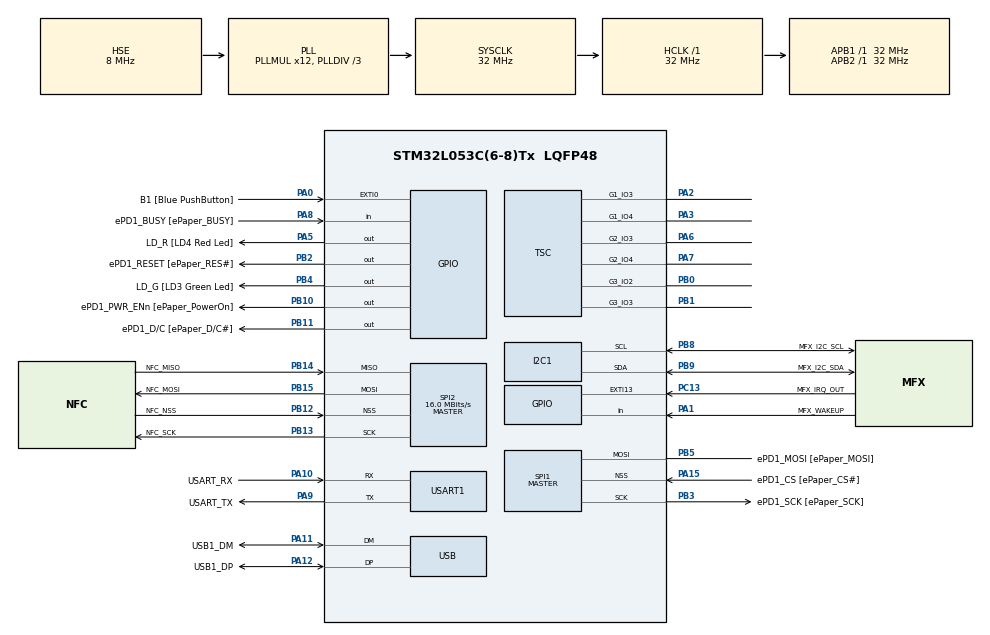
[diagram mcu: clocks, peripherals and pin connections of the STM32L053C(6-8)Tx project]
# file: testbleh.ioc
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FREERTOS.Tasks01=defaultTask,0,128,StartDefaultTask,Default,NULL
Mcu.Family=STM32L0
Mcu.Name=STM32L053C(6-8)Tx
Mcu.Package=LQFP48
PA0.GPIO_Label=B1 [Blue PushButton]
PA0.GPIO_ModeDefaultEXTI=GPIO_MODE_EVT_RISING
PA0.GPIO_PuPd=GPIO_NOPULL
PA0.Signal=GPXTI0
PA1.GPIO_Label=MFX_WAKEUP
PA1.Signal=GPIO_Input
PA10.GPIO_Label=USART_RX
PA10.Mode=Asynchronous
PA10.Signal=USART1_RX
PA11.GPIO_Label=USB1_DM
PA11.Mode=Device
PA11.Signal=USB_DM
PA12.GPIO_Label=USB1_DP
PA12.Mode=Device
PA12.Signal=USB_DP
PA13.GPIO_Label=SWDIO
PA13.Mode=Serial_Wire
PA13.Signal=SYS_SWDIO
PA14.GPIO_Label=SWCLK
PA14.Mode=Serial_Wire
PA14.Signal=SYS_SWCLK
PA15.GPIO_Label=ePD1_CS [ePaper_CS\#]
PA15.GPIO_Mode=GPIO_MODE_AF_PP
PA15.GPIO_PuPd=GPIO_NOPULL
PA15.GPIO_Speed=GPIO_SPEED_FREQ_LOW
PA15.Mode=NSS_Signal_Hard_Input
PA15.Signal=SPI1_NSS
PA2.Mode=G1_IO3-Channel
PA2.Signal=TSC_G1_IO3
PA3.Mode=G1_IO4-Sampling
PA3.Signal=TSC_G1_IO4
PA5.GPIO_Label=LD_R [LD4 Red Led]
PA5.GPIO_ModeDefaultOutputPP=GPIO_MODE_OUTPUT_PP
PA5.GPIO_PuPd=GPIO_NOPULL
PA5.GPIO_Speed=GPIO_SPEED_FREQ_LOW
PA5.Signal=GPIO_Output
PA6.Mode=G2_IO3-Channel
PA6.Signal=TSC_G2_IO3
PA7.Mode=G2_IO4-Sampling
PA7.Signal=TSC_G2_IO4
PA8.GPIO_Label=ePD1_BUSY [ePaper_BUSY]
PA8.GPIO_Mode=GPIO_MODE_INPUT
PA8.GPIO_PuPd=GPIO_NOPULL
PA8.Signal=GPIO_Input
PA9.GPIO_Label=USART_TX
PA9.Mode=Asynchronous
PA9.Signal=USART1_TX
PB0.Mode=G3_IO2-Channel
PB0.Signal=TSC_G3_IO2
PB1.Mode=G3_IO3-Sampling
PB1.Signal=TSC_G3_IO3
PB10.GPIO_Label=ePD1_PWR_ENn [ePaper_PowerOn]
PB10.GPIO_ModeDefaultOutputPP=GPIO_MODE_OUTPUT_PP
PB10.GPIO_PuPd=GPIO_NOPULL
PB10.GPIO_Speed=GPIO_SPEED_FREQ_LOW
PB10.Signal=GPIO_Output
PB11.GPIO_Label=ePD1_D/C [ePaper_D/C\#]
PB11.GPIO_ModeDefaultOutputPP=GPIO_MODE_OUTPUT_PP
PB11.GPIO_PuPd=GPIO_NOPULL
PB11.GPIO_Speed=GPIO_SPEED_FREQ_LOW
PB11.Signal=GPIO_Output
PB12.GPIO_Label=NFC_NSS
PB12.Mode=NSS_Signal_Hard_Input
PB12.Signal=SPI2_NSS
PB13.GPIO_Label=NFC_SCK
PB13.Mode=Full_Duplex_Master
PB13.Signal=SPI2_SCK
PB14.GPIO_Label=NFC_MISO
PB14.Mode=Full_Duplex_Master
PB14.Signal=SPI2_MISO
PB15.GPIO_Label=NFC_MOSI
PB15.Mode=Full_Duplex_Master
PB15.Signal=SPI2_MOSI
PB2.GPIO_Label=ePD1_RESET [ePaper_RES\#]
PB2.GPIO_ModeDefaultOutputPP=GPIO_MODE_OUTPUT_PP
PB2.GPIO_PuPd=GPIO_NOPULL
PB2.GPIO_Speed=GPIO_SPEED_FREQ_LOW
PB2.Signal=GPIO_Output
PB3.GPIO_Label=ePD1_SCK [ePaper_SCK]
PB3.GPIO_Mode=GPIO_MODE_AF_PP
PB3.GPIO_PuPd=GPIO_NOPULL
PB3.GPIO_Speed=GPIO_SPEED_FREQ_LOW
PB3.Mode=Simplex_Bidirectional_Master
PB3.Signal=SPI1_SCK
PB4.GPIO_Label=LD_G [LD3 Green Led]
PB4.GPIO_ModeDefaultOutputPP=GPIO_MODE_OUTPUT_PP
PB4.GPIO_PuPd=GPIO_NOPULL
PB4.GPIO_Speed=GPIO_SPEED_FREQ_LOW
PB4.Signal=GPIO_Output
PB5.GPIO_Label=ePD1_MOSI [ePaper_MOSI]
PB5.GPIO_Mode=GPIO_MODE_AF_PP
PB5.GPIO_PuPd=GPIO_NOPULL
PB5.GPIO_Speed=GPIO_SPEED_FREQ_LOW
PB5.Mode=Simplex_Bidirectional_Master
PB5.Signal=SPI1_MOSI
PB8.GPIO_Label=MFX_I2C_SCL
PB8.Mode=I2C
PB8.Signal=I2C1_SCL
PB9.GPIO_Label=MFX_I2C_SDA
PB9.Mode=I2C
PB9.Signal=I2C1_SDA
PC13.GPIO_Label=MFX_IRQ_OUT
PC13.Signal=GPXTI13
PC14-OSC32_IN.GPIO_Label=PC14-OSC32_IN
PC14-OSC32_IN.Signal=RCC_OSC32_IN
PC15-OSC32_OUT.GPIO_Label=PC15-OSC32_OUT
PC15-OSC32_OUT.Signal=RCC_OSC32_OUT
PH0-OSC_IN.GPIO_Label=MCO
PH0-OSC_IN.Mode=HSE-External-Clock-Source
PH0-OSC_IN.Signal=RCC_OSC_IN
ProjectManager.HeapSize=0x200
ProjectManager.StackSize=0x400
ProjectManager.TargetToolchain=TrueSTUDIO
RCC.AHBFreq_Value=32000000
RCC.APB1Freq_Value=32000000
RCC.APB1TimFreq_Value=32000000
RCC.APB2Freq_Value=32000000
RCC.APB2TimFreq_Value=32000000
RCC.HCLKFreq_Value=32000000
RCC.HSE_VALUE=8000000
RCC.HSI16_VALUE=16000000
RCC.HSI48MClockSelection=RCC_USBCLKSOURCE_HSI48
RCC.HSI48_VALUE=48000000
RCC.HSI_VALUE=16000000
RCC.LSE_VALUE=32768
RCC.MSI_VALUE=2097000
RCC.PLLDIV=RCC_PLLDIV_3
RCC.PLLMUL=RCC_PLLMUL_12
RCC.PLLSourceVirtual=RCC_PLLSOURCE_HSE
RCC.RTCClockSelectionVirtual=RCC_RTCCLKSOURCE_LSE
RCC.SYSCLKFreq_VALUE=32000000
RCC.SYSCLKSource=RCC_SYSCLKSOURCE_PLLCLK
RCC.VCOOutputFreq_Value=96000000
SPI1.CalculateBaudRate-Simplex_Bidirectional_Master=16.0 MBits/s
SPI1.Direction=SPI_DIRECTION_1LINE
SPI1.Direction-Simplex_Bidirectional_Master=SPI_DIRECTION_1LINE
SPI1.Mode=SPI_MODE_MASTER
SPI1.Mode-Simplex_Bidirectional_Master=SPI_MODE_MASTER
SPI1.NSS-Simplex_Bidirectional_Master=SPI_NSS_HARD_OUTPUT
SPI1.TIMode-Simplex_Bidirectional_Master=SPI_TIMODE_DISABLE
SPI1.VirtualNSS=VM_NSSHARD
SPI1.VirtualType=VM_MASTER
SPI2.CalculateBaudRate=16.0 MBits/s
SPI2.Direction=SPI_DIRECTION_2LINES
SPI2.Mode=SPI_MODE_MASTER
SPI2.VirtualNSS=VM_NSSHARD
SPI2.VirtualType=VM_MASTER
TSC.ChannelIOs-G1_IO3-Channel=TSC_GROUP1_IO3
TSC.ChannelIOs-G2_IO3-Channel=TSC_GROUP2_IO3
TSC.ChannelIOs-G3_IO2-Channel=TSC_GROUP3_IO2
TSC.SamplingIOs-G1_IO4-Sampling=TSC_GROUP1_IO4
TSC.SamplingIOs-G2_IO4-Sampling=TSC_GROUP2_IO4
TSC.SamplingIOs-G3_IO3-Sampling=TSC_GROUP3_IO3
USART1.VirtualMode-Asynchronous=VM_ASYNC
VP_CRC_VS_CRC.Mode=CRC_Activate
VP_FREERTOS_VS_ENABLE.Mode=Enabled
VP_RNG_VS_RNG.Mode=RNG_Activate
board=32L0538DISCOVERY

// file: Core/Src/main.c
/* USER CODE BEGIN Header */
/**
 ******************************************************************************
 * @file           : main.c
 * @brief          : Main program body
 ******************************************************************************
 * This notice applies to any and all portions of this file
 * that are not between comment pairs USER CODE BEGIN and
 * USER CODE END. Other portions of this file, whether
 * inserted by the user or by software development tools
 * are owned by their respective copyright owners.
 *
 * Copyright (c) 2018 STMicroelectronics International N.V.
 * All rights reserved.
 *
 * Redistribution and use in source and binary forms, with or without
 * modification, are permitted, provided that the following conditions are met:
 *
 * 1. Redistribution of source code must retain the above copyright notice,
 *    this list of conditions and the following disclaimer.
 * 2. Redistributions in binary form must reproduce the above copyright notice,
 *    this list of conditions and the following disclaimer in the documentation
 *    and/or other materials provided with the distribution.
 * 3. Neither the name of STMicroelectronics nor the names of other
 *    contributors to this software may be used to endorse or promote products
 *    derived from this software without specific written permission.
 * 4. This software, including modifications and/or derivative works of this
 *    software, must execute solely and exclusively on microcontroller or
 *    microprocessor devices manufactured by or for STMicroelectronics.
 * 5. Redistribution and use of this software other than as permitted under
 *    this license is void and will automatically terminate your rights under
 *    this license.
 *
 * THIS SOFTWARE IS PROVIDED BY STMICROELECTRONICS AND CONTRIBUTORS "AS IS"
 * AND ANY EXPRESS, IMPLIED OR STATUTORY WARRANTIES, INCLUDING, BUT NOT
 * LIMITED TO, THE IMPLIED WARRANTIES OF MERCHANTABILITY, FITNESS FOR A
 * PARTICULAR PURPOSE AND NON-INFRINGEMENT OF THIRD PARTY INTELLECTUAL PROPERTY
 * RIGHTS ARE DISCLAIMED TO THE FULLEST EXTENT PERMITTED BY LAW. IN NO EVENT
 * SHALL STMICROELECTRONICS OR CONTRIBUTORS BE LIABLE FOR ANY DIRECT, INDIRECT,
 * INCIDENTAL, SPECIAL, EXEMPLARY, OR CONSEQUENTIAL DAMAGES (INCLUDING, BUT NOT
 * LIMITED TO, PROCUREMENT OF SUBSTITUTE GOODS OR SERVICES; LOSS OF USE, DATA,
 * OR PROFITS; OR BUSINESS INTERRUPTION) HOWEVER CAUSED AND ON ANY THEORY OF
 * LIABILITY, WHETHER IN CONTRACT, STRICT LIABILITY, OR TORT (INCLUDING
 * NEGLIGENCE OR OTHERWISE) ARISING IN ANY WAY OUT OF THE USE OF THIS SOFTWARE,
 * EVEN IF ADVISED OF THE POSSIBILITY OF SUCH DAMAGE.
 *
 ******************************************************************************
 */
/* USER CODE END Header */

#include "main.h"
#include "string.h"
#include "cmsis_os.h"
#include "FreeRTOS.h"

/* USER CODE BEGIN Includes */

//#include "stm32l0538_discovery.h"
//#include "stm32l0538_discovery_epd.h"
#include "tinycrypt/ecc.h"
#include <tinycrypt/ecc_dsa.h>
#include <tinycrypt/ecc_dh.h>
#include <tinycrypt/constants.h>
#include <tinycrypt/sha256.h>
#include "sha3.h"
#include "prvkey.h"
#include "ethutil.h"
#include "hexutil.h"
/* USER CODE END Includes */

I2C_HandleTypeDef hi2c1;

RNG_HandleTypeDef hrng;

SPI_HandleTypeDef hspi1;
SPI_HandleTypeDef hspi2;

TSC_HandleTypeDef htsc;

UART_HandleTypeDef huart1;

PCD_HandleTypeDef hpcd_USB_FS;

osThreadId defaultTaskHandle;

void SystemClock_Config(void);
static void MX_GPIO_Init(void);
static void MX_I2C1_Init(void);
static void MX_SPI1_Init(void);
static void MX_SPI2_Init(void);
static void MX_TSC_Init(void);
static void MX_USART1_UART_Init(void);
static void MX_USB_PCD_Init(void);
static void MX_RNG_Init(void);
static void MX_CRC_Init(void);
void StartDefaultTask(void * argument);

int default_CSPRNG(uint8_t *dest, unsigned int size);

/* USER CODE BEGIN 0 */

TaskHandle_t g_taskHandle;
sha3_context g_sha3c = {0};
uECC_Curve g_curve;
/* USER CODE END 0 */

int main(void)
{

	/* MCU Configuration--------------------------------------------------------*/

	/* Reset of all peripherals, Initializes the Flash interface and the Systick. */
	HAL_Init();

	/* Configure the system clock */
	SystemClock_Config();

	/* Initialize all configured peripherals */
	MX_GPIO_Init();
	MX_I2C1_Init();
	MX_SPI1_Init();
	MX_SPI2_Init();
	MX_TSC_Init();
	MX_USART1_UART_Init();
	MX_USB_PCD_Init();
	MX_RNG_Init();
	MX_CRC_Init();
	/* USER CODE BEGIN 2 */
	//	BSP_EPD_Init();
	/* USER CODE END 2 */

	/* Create the thread(s) */
	/* definition and creation of defaultTask */

	BaseType_t result =  xTaskCreate(StartDefaultTask, "start task", 512, NULL, 5, &g_taskHandle);

	if(result != pdPASS)
	{
		Error_Handler();
	}

	/* Start scheduler */
	//  osKernelStart();
	vTaskStartScheduler();

	/* We should never get here as control is now taken by the scheduler */
}

void StartDefaultTask(void * argument)
{

	/* USER CODE BEGIN 5 */
	uECC_set_rng(&default_CSPRNG);
	g_curve = uECC_secp256k1();

	uint8_t pub_bytes[2*NUM_ECC_BYTES];
	uint8_t prv_bytes[NUM_ECC_BYTES];
	uint8_t addr_str[43];
	uint8_t hash[NUM_ECC_BYTES];
	uint8_t sig[2*NUM_ECC_BYTES];

#ifdef PRV_KEY
	hex2bin(PRV_KEY, prv_bytes, 2*NUM_ECC_BYTES, NULL);
#else
	//Create the key-pair
	if(!uECC_make_key(pub_bytes, prv_bytes, g_curve))
	{
		Error_Handler();
	}
#endif

	if(!uECC_compute_public_key(prv_bytes, pub_bytes, g_curve))
	{
		Error_Handler();
	}

	// Create ETH address from key
	ethAddrFromPubkey(pub_bytes, addr_str);

	for(;;)
	{
		//		BSP_EPD_Clear(0xFFFF);
		HAL_GPIO_WritePin(LD_G_GPIO_Port, LD_G_Pin, GPIO_PIN_RESET);
		HAL_GPIO_WritePin(LD_R_GPIO_Port, LD_R_Pin, GPIO_PIN_RESET);

		if(!uECC_sign(prv_bytes, hash, sizeof(hash), sig, g_curve ))
		{
			Error_Handler();
		}
		HAL_GPIO_WritePin(LD_R_GPIO_Port, LD_R_Pin, GPIO_PIN_SET);

		if(!uECC_verify(pub_bytes, hash, sizeof(hash), sig, g_curve))
		{
			Error_Handler();
		}
		HAL_GPIO_WritePin(LD_G_GPIO_Port, LD_G_Pin, GPIO_PIN_SET);

		//		BSP_EPD_DisplayStringAt(0, 0, "Test 1234567890", CENTER_MODE );
		//		BSP_EPD_RefreshDisplay();

		vTaskDelay(pdMS_TO_TICKS(500));
	}
	/* USER CODE END 5 */
}

int default_CSPRNG(uint8_t *dest, unsigned int size)
{
	uint32_t num = 0;
	uint32_t remaining_bytes = size;
	uint32_t idx = 0;

	while(remaining_bytes > 0)
	{
		HAL_RNG_GenerateRandomNumber(&hrng, &num);

		if(remaining_bytes >= 4)
		{
			memcpy(dest+idx, &num, 4);
			remaining_bytes -= 4;
			idx +=4;
		}
		else
		{
			memcpy(dest+idx, &num, remaining_bytes);
			remaining_bytes = 0;
			idx += remaining_bytes;
		}
	}
	return 1;
}

void SystemClock_Config(void)
{
	RCC_OscInitTypeDef RCC_OscInitStruct = {0};
	RCC_ClkInitTypeDef RCC_ClkInitStruct = {0};
	RCC_PeriphCLKInitTypeDef PeriphClkInit = {0};

	/**Configure the main internal regulator output voltage
	 */
	__HAL_PWR_VOLTAGESCALING_CONFIG(PWR_REGULATOR_VOLTAGE_SCALE1);
	/**Initializes the CPU, AHB and APB busses clocks
	 */
	RCC_OscInitStruct.OscillatorType = RCC_OSCILLATORTYPE_HSE|RCC_OSCILLATORTYPE_HSI48;
	RCC_OscInitStruct.HSEState = RCC_HSE_BYPASS;
	RCC_OscInitStruct.HSI48State = RCC_HSI48_ON;
	RCC_OscInitStruct.PLL.PLLState = RCC_PLL_ON;
	RCC_OscInitStruct.PLL.PLLSource = RCC_PLLSOURCE_HSE;
	RCC_OscInitStruct.PLL.PLLMUL = RCC_PLLMUL_12;
	RCC_OscInitStruct.PLL.PLLDIV = RCC_PLLDIV_3;
	if (HAL_RCC_OscConfig(&RCC_OscInitStruct) != HAL_OK)
	{
		Error_Handler();
	}
	/**Initializes the CPU, AHB and APB busses clocks
	 */
	RCC_ClkInitStruct.ClockType = RCC_CLOCKTYPE_HCLK|RCC_CLOCKTYPE_SYSCLK
			|RCC_CLOCKTYPE_PCLK1|RCC_CLOCKTYPE_PCLK2;
	RCC_ClkInitStruct.SYSCLKSource = RCC_SYSCLKSOURCE_PLLCLK;
	RCC_ClkInitStruct.AHBCLKDivider = RCC_SYSCLK_DIV1;
	RCC_ClkInitStruct.APB1CLKDivider = RCC_HCLK_DIV1;
	RCC_ClkInitStruct.APB2CLKDivider = RCC_HCLK_DIV1;

	if (HAL_RCC_ClockConfig(&RCC_ClkInitStruct, FLASH_LATENCY_1) != HAL_OK)
	{
		Error_Handler();
	}
	PeriphClkInit.PeriphClockSelection = RCC_PERIPHCLK_USART1|RCC_PERIPHCLK_I2C1
			|RCC_PERIPHCLK_USB;
	PeriphClkInit.Usart1ClockSelection = RCC_USART1CLKSOURCE_PCLK2;
	PeriphClkInit.I2c1ClockSelection = RCC_I2C1CLKSOURCE_PCLK1;
	PeriphClkInit.UsbClockSelection = RCC_USBCLKSOURCE_HSI48;
	if (HAL_RCCEx_PeriphCLKConfig(&PeriphClkInit) != HAL_OK)
	{
		Error_Handler();
	}
}

static void MX_CRC_Init(void)
{

}

static void MX_I2C1_Init(void)
{

	hi2c1.Instance = I2C1;
	hi2c1.Init.Timing = 0x00000708;
	hi2c1.Init.OwnAddress1 = 0;
	hi2c1.Init.AddressingMode = I2C_ADDRESSINGMODE_7BIT;
	hi2c1.Init.DualAddressMode = I2C_DUALADDRESS_DISABLE;
	hi2c1.Init.OwnAddress2 = 0;
	hi2c1.Init.OwnAddress2Masks = I2C_OA2_NOMASK;
	hi2c1.Init.GeneralCallMode = I2C_GENERALCALL_DISABLE;
	hi2c1.Init.NoStretchMode = I2C_NOSTRETCH_DISABLE;
	if (HAL_I2C_Init(&hi2c1) != HAL_OK)
	{
		Error_Handler();
	}
	/**Configure Analogue filter
	 */
	if (HAL_I2CEx_ConfigAnalogFilter(&hi2c1, I2C_ANALOGFILTER_ENABLE) != HAL_OK)
	{
		Error_Handler();
	}
	/**Configure Digital filter
	 */
	if (HAL_I2CEx_ConfigDigitalFilter(&hi2c1, 0) != HAL_OK)
	{
		Error_Handler();
	}

}

static void MX_RNG_Init(void)
{

	hrng.Instance = RNG;
	if (HAL_RNG_Init(&hrng) != HAL_OK)
	{
		Error_Handler();
	}

}

static void MX_SPI1_Init(void)
{

	/* SPI1 parameter configuration*/
	hspi1.Instance = SPI1;
	hspi1.Init.Mode = SPI_MODE_MASTER;
	hspi1.Init.Direction = SPI_DIRECTION_1LINE;
	hspi1.Init.DataSize = SPI_DATASIZE_8BIT;
	hspi1.Init.CLKPolarity = SPI_POLARITY_LOW;
	hspi1.Init.CLKPhase = SPI_PHASE_1EDGE;
	hspi1.Init.NSS = SPI_NSS_HARD_INPUT;
	hspi1.Init.BaudRatePrescaler = SPI_BAUDRATEPRESCALER_2;
	hspi1.Init.FirstBit = SPI_FIRSTBIT_MSB;
	hspi1.Init.TIMode = SPI_TIMODE_DISABLE;
	hspi1.Init.CRCCalculation = SPI_CRCCALCULATION_DISABLE;
	hspi1.Init.CRCPolynomial = 7;
	if (HAL_SPI_Init(&hspi1) != HAL_OK)
	{
		Error_Handler();
	}

}

static void MX_SPI2_Init(void)
{

	/* SPI2 parameter configuration*/
	hspi2.Instance = SPI2;
	hspi2.Init.Mode = SPI_MODE_MASTER;
	hspi2.Init.Direction = SPI_DIRECTION_2LINES;
	hspi2.Init.DataSize = SPI_DATASIZE_8BIT;
	hspi2.Init.CLKPolarity = SPI_POLARITY_LOW;
	hspi2.Init.CLKPhase = SPI_PHASE_1EDGE;
	hspi2.Init.NSS = SPI_NSS_HARD_INPUT;
	hspi2.Init.BaudRatePrescaler = SPI_BAUDRATEPRESCALER_2;
	hspi2.Init.FirstBit = SPI_FIRSTBIT_MSB;
	hspi2.Init.TIMode = SPI_TIMODE_DISABLE;
	hspi2.Init.CRCCalculation = SPI_CRCCALCULATION_DISABLE;
	hspi2.Init.CRCPolynomial = 7;
	if (HAL_SPI_Init(&hspi2) != HAL_OK)
	{
		Error_Handler();
	}

}

static void MX_TSC_Init(void)
{

	/**Configure the TSC peripheral
	 */
	htsc.Instance = TSC;
	htsc.Init.CTPulseHighLength = TSC_CTPH_2CYCLES;
	htsc.Init.CTPulseLowLength = TSC_CTPL_2CYCLES;
	htsc.Init.SpreadSpectrum = DISABLE;
	htsc.Init.SpreadSpectrumDeviation = 1;
	htsc.Init.SpreadSpectrumPrescaler = TSC_SS_PRESC_DIV1;
	htsc.Init.PulseGeneratorPrescaler = TSC_PG_PRESC_DIV4;
	htsc.Init.MaxCountValue = TSC_MCV_8191;
	htsc.Init.IODefaultMode = TSC_IODEF_OUT_PP_LOW;
	htsc.Init.SynchroPinPolarity = TSC_SYNC_POLARITY_FALLING;
	htsc.Init.AcquisitionMode = TSC_ACQ_MODE_NORMAL;
	htsc.Init.MaxCountInterrupt = DISABLE;
	htsc.Init.ChannelIOs = TSC_GROUP1_IO3|TSC_GROUP2_IO3|TSC_GROUP3_IO2;
	htsc.Init.ShieldIOs = 0;
	htsc.Init.SamplingIOs = TSC_GROUP1_IO4|TSC_GROUP2_IO4|TSC_GROUP3_IO3;
	if (HAL_TSC_Init(&htsc) != HAL_OK)
	{
		Error_Handler();
	}

}

static void MX_USART1_UART_Init(void)
{

	huart1.Instance = USART1;
	huart1.Init.BaudRate = 115200;
	huart1.Init.WordLength = UART_WORDLENGTH_8B;
	huart1.Init.StopBits = UART_STOPBITS_1;
	huart1.Init.Parity = UART_PARITY_NONE;
	huart1.Init.Mode = UART_MODE_TX_RX;
	huart1.Init.HwFlowCtl = UART_HWCONTROL_NONE;
	huart1.Init.OverSampling = UART_OVERSAMPLING_16;
	huart1.Init.OneBitSampling = UART_ONE_BIT_SAMPLE_DISABLE;
	huart1.AdvancedInit.AdvFeatureInit = UART_ADVFEATURE_NO_INIT;
	if (HAL_UART_Init(&huart1) != HAL_OK)
	{
		Error_Handler();
	}

}

static void MX_USB_PCD_Init(void)
{

	hpcd_USB_FS.Instance = USB;
	hpcd_USB_FS.Init.dev_endpoints = 8;
	hpcd_USB_FS.Init.speed = PCD_SPEED_FULL;
	hpcd_USB_FS.Init.ep0_mps = DEP0CTL_MPS_64;
	hpcd_USB_FS.Init.phy_itface = PCD_PHY_EMBEDDED;
	hpcd_USB_FS.Init.low_power_enable = DISABLE;
	hpcd_USB_FS.Init.lpm_enable = DISABLE;
	hpcd_USB_FS.Init.battery_charging_enable = DISABLE;
	if (HAL_PCD_Init(&hpcd_USB_FS) != HAL_OK)
	{
		Error_Handler();
	}

}

static void MX_GPIO_Init(void)
{
	GPIO_InitTypeDef GPIO_InitStruct = {0};

	/* GPIO Ports Clock Enable */
	__HAL_RCC_GPIOC_CLK_ENABLE();
	__HAL_RCC_GPIOH_CLK_ENABLE();
	__HAL_RCC_GPIOA_CLK_ENABLE();
	__HAL_RCC_GPIOB_CLK_ENABLE();

	/*Configure GPIO pin Output Level */
	HAL_GPIO_WritePin(LD_R_GPIO_Port, LD_R_Pin, GPIO_PIN_RESET);

	/*Configure GPIO pin Output Level */
	HAL_GPIO_WritePin(GPIOB, ePD1_RESET_Pin|ePD1_PWR_ENn_Pin|ePD1_D_C_Pin|LD_G_Pin, GPIO_PIN_RESET);

	/*Configure GPIO pin : MFX_IRQ_OUT_Pin */
	GPIO_InitStruct.Pin = MFX_IRQ_OUT_Pin;
	GPIO_InitStruct.Mode = GPIO_MODE_IT_RISING;
	GPIO_InitStruct.Pull = GPIO_NOPULL;
	HAL_GPIO_Init(MFX_IRQ_OUT_GPIO_Port, &GPIO_InitStruct);

	/*Configure GPIO pin : B1_Pin */
	GPIO_InitStruct.Pin = B1_Pin;
	GPIO_InitStruct.Mode = GPIO_MODE_EVT_RISING;
	GPIO_InitStruct.Pull = GPIO_NOPULL;
	HAL_GPIO_Init(B1_GPIO_Port, &GPIO_InitStruct);

	/*Configure GPIO pins : MFX_WAKEUP_Pin ePD1_BUSY_Pin */
	GPIO_InitStruct.Pin = MFX_WAKEUP_Pin|ePD1_BUSY_Pin;
	GPIO_InitStruct.Mode = GPIO_MODE_INPUT;
	GPIO_InitStruct.Pull = GPIO_NOPULL;
	HAL_GPIO_Init(GPIOA, &GPIO_InitStruct);

	/*Configure GPIO pin : LD_R_Pin */
	GPIO_InitStruct.Pin = LD_R_Pin;
	GPIO_InitStruct.Mode = GPIO_MODE_OUTPUT_PP;
	GPIO_InitStruct.Pull = GPIO_NOPULL;
	GPIO_InitStruct.Speed = GPIO_SPEED_FREQ_LOW;
	HAL_GPIO_Init(LD_R_GPIO_Port, &GPIO_InitStruct);

	/*Configure GPIO pins : ePD1_RESET_Pin ePD1_PWR_ENn_Pin ePD1_D_C_Pin LD_G_Pin */
	GPIO_InitStruct.Pin = ePD1_RESET_Pin|ePD1_PWR_ENn_Pin|ePD1_D_C_Pin|LD_G_Pin;
	GPIO_InitStruct.Mode = GPIO_MODE_OUTPUT_PP;
	GPIO_InitStruct.Pull = GPIO_NOPULL;
	GPIO_InitStruct.Speed = GPIO_SPEED_FREQ_LOW;
	HAL_GPIO_Init(GPIOB, &GPIO_InitStruct);

}

void Error_Handler(void)
{
	/* USER CODE BEGIN Error_Handler_Debug */
	/* User can add his own implementation to report the HAL error return state */
	HAL_GPIO_WritePin(LD_G_GPIO_Port, LD_G_Pin, GPIO_PIN_RESET);
	HAL_GPIO_WritePin(LD_R_GPIO_Port, LD_R_Pin, GPIO_PIN_RESET);
	while(1)
	{
		const GPIO_PinState state = HAL_GPIO_ReadPin(LD_R_GPIO_Port, LD_R_Pin);
		if(state == GPIO_PIN_RESET)
		{
			HAL_GPIO_WritePin(LD_R_GPIO_Port, LD_R_Pin, GPIO_PIN_SET);
		}else
		{
			HAL_GPIO_WritePin(LD_R_GPIO_Port, LD_R_Pin, GPIO_PIN_RESET);
		}
		vTaskDelay(pdMS_TO_TICKS(1000));
	}

	/* USER CODE END Error_Handler_Debug */
}

/************************ (C) COPYRIGHT STMicroelectronics *****END OF FILE****/
